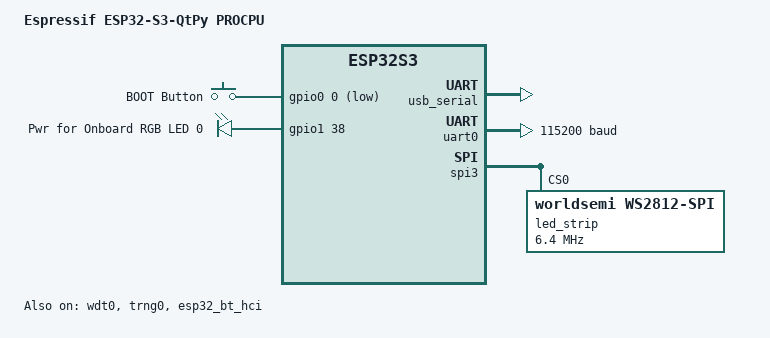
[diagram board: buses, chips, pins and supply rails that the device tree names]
/dts-v1/;

#include "espressif/esp32s3/esp32s3.dtsi"
#include "esp32s3_qtpy-pinctrl.dtsi"
#include <zephyr/dt-bindings/input/input-event-codes.h>

/ {
	model = "Espressif ESP32-S3-QtPy PROCPU";
	compatible = "espressif,esp32s3";

	aliases {
		led-strip = &led_strip;
		led0 = &led_0;
		i2c-0 = &i2c0;
		watchdog0 = &wdt0;
		uart-0 = &uart0;
		sw0 = &button0;
	};

	chosen {
		zephyr,sram = &sram0;
		zephyr,console = &usb_serial;
		zephyr,shell-uart = &usb_serial;
		zephyr,flash = &flash0;
		zephyr,code-partition = &slot0_partition;
		zephyr,bt-hci = &esp32_bt_hci;
	};

	buttons {
		compatible = "gpio-keys";
		button0: button_0 {
			gpios = <&gpio0 0 (GPIO_PULL_UP | GPIO_ACTIVE_LOW)>;
			label = "BOOT Button";
			zephyr,code = <INPUT_KEY_0>;
		};
	};

	leds {
		compatible = "gpio-leds";
		led_0: led_0 {
			gpios = <&gpio1 38 GPIO_ACTIVE_HIGH>;
			label = "Pwr for Onboard RGB LED 0";
		};
	};

};

&usb_serial {
	status = "okay";
};

&uart0 {
	status = "okay";
	current-speed = <115200>;
	pinctrl-0 = <&uart0_default>;
	pinctrl-names = "default";
};

&spi3 {
	status = "okay";
	#address-cells = <1>;
	#size-cells = <0>;
	pinctrl-0 = <&spim3_default>;
	pinctrl-names = "default";

	/* Workaround to support WS2812 driver */
	line-idle-low;

	led_strip: ws2812@0 {
		compatible = "worldsemi,ws2812-spi";

		/* SPI */
		reg = <0>; /* ignored, but necessary for SPI bindings */
		spi-max-frequency = <6400000>;

		/* WS2812 */
		chain-length = <1>; /* a single led */
		spi-cpha;
		spi-one-frame = <0xf0>; /* 11110000: 625 ns high and 625 ns low */
		spi-zero-frame = <0xc0>; /* 11000000: 312.5 ns high and 937.5 ns low */
		color-mapping = <LED_COLOR_ID_GREEN
				 LED_COLOR_ID_RED
				 LED_COLOR_ID_BLUE>;
	};
};
&gpio0 {
	status = "okay";
};

&gpio1 {
	status = "okay";
};

&timer0 {
	status = "disabled";
};

&timer1 {
	status = "disabled";
};

&timer2 {
	status = "disabled";
};

&timer3 {
	status = "disabled";
};

&wdt0 {
	status = "okay";
};

&trng0 {
	status = "okay";
};

&flash0 {
	status = "okay";
	partitions {
		compatible = "fixed-partitions";
		#address-cells = <1>;
		#size-cells = <1>;

		/* Reserve 64kB for the bootloader */
		boot_partition: partition@0 {
			label = "mcuboot";
			reg = <0x00000000 0x00010000>;
			read-only;
		};

		/* Reserve 1024kB for the application in slot 0 */
		slot0_partition: partition@10000 {
			label = "image-0";
			reg = <0x00010000 0x00100000>;
		};

		/* Reserve 1024kB for the application in slot 1 */
		slot1_partition: partition@110000 {
			label = "image-1";
			reg = <0x00110000 0x00100000>;
		};

		/* Reserve 256kB for the scratch partition */
		scratch_partition: partition@210000 {
			   label = "image-scratch";
			   reg = <0x00210000 0x00040000>;
		};

		storage_partition: partition@250000 {
			label = "storage";
			reg = <0x00250000 0x00006000>;
		};
	};
};

&esp32_bt_hci {
	status = "okay";
};
